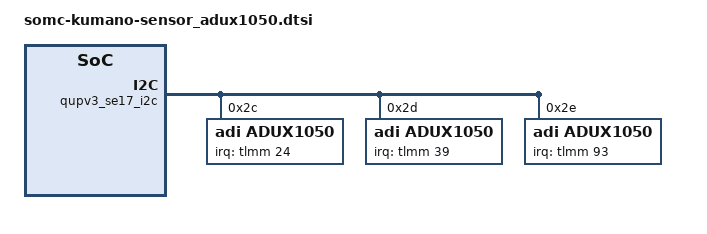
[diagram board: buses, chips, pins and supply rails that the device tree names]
/* arch/arm64/boot/dts/somc/somc-kumano-sensor_adux1050.dtsi
 *
 * This program is free software; you can redistribute it and/or modify
 * it under the terms of the GNU General Public License version 2 and
 * only version 2 as published by the Free Software Foundation.
 *
 * This program is distributed in the hope that it will be useful,
 * but WITHOUT ANY WARRANTY; without even the implied warranty of
 * MERCHANTABILITY or FITNESS FOR A PARTICULAR PURPOSE.  See the
 * GNU General Public License for more details.
 */

/* I2C: QUP17 */
&qupv3_se17_i2c {
	adux1050@2c {
		compatible = "adi,adux1050";
		reg = <0x2c>;
		interrupt-parent = <&tlmm>;
		interrupts = <24 2>;
		interrupts-name = "adux1050_2c";
		adi,adux1050_reg = [ 00010006 00020529 000301cc 00050f44 0006bf7e 00070190 0008012c 00091700 000a0004 000bbfe7 000c0190 000d012c 000e1000 000f0004 ];
		adi,adux1050_irq_flags = [ 00000002 ];
		adi,adux1050_irq_gpio_no = <24>;
		adi,adux1050_intr_err = <0x30>;
		adi,adux1050_proxy_enable = <1>;
		adi,adux1050_allowed_proxy_time = <15>;
		adi,adux1050_max_proxy_count = <4>;
		adi,adux1050_device_identifier = <0>;
	};
	adux1050@2d {
		compatible = "adi,adux1050";
		reg = <0x2d>;
		interrupt-parent = <&tlmm>;
		interrupts = <39 2>;
		interrupts-name = "adux1050_2d";
		adi,adux1050_reg = [ 00010006 00020529 000301cc 00050f44 0006bf7e 000703e8 0008012c 00093400 000a0004 000bbfe7 000c0096 000d012c 000e3900 000f0002 ];
		adi,adux1050_irq_flags = [ 00000002 ];
		adi,adux1050_irq_gpio_no = <39>;
		adi,adux1050_intr_err = <0x30>;
		adi,adux1050_proxy_enable = <1>;
		adi,adux1050_allowed_proxy_time = <15>;
		adi,adux1050_max_proxy_count = <4>;
		adi,adux1050_device_identifier = <1>;
	};
	adux1050@2e {
		compatible = "adi,adux1050";
		reg = <0x2e>;
		interrupt-parent = <&tlmm>;
		interrupts = <93 2>;
		interrupts-name = "adux1050_2e";
		adi,adux1050_reg = [ 00010002 00020529 000301ee 00050f44 0006bff6 00070064 0008012c 00095c00 000a0001 ];
		adi,adux1050_irq_flags = [ 00000002 ];
		adi,adux1050_irq_gpio_no = <93>;
		adi,adux1050_intr_err = <0x10>;
		adi,adux1050_proxy_enable = <1>;
		adi,adux1050_allowed_proxy_time = <15>;
		adi,adux1050_max_proxy_count = <4>;
		adi,adux1050_device_identifier = <2>;
	};
};
